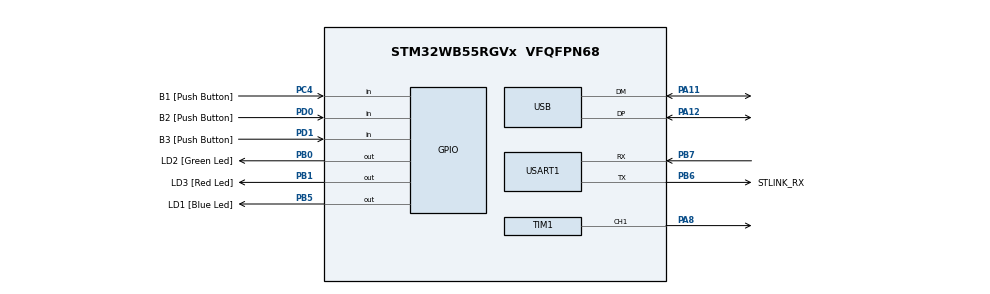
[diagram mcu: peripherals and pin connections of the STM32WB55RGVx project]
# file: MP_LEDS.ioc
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Dma.Request0=TIM1_CH1
Dma.TIM1_CH1.0.Direction=DMA_MEMORY_TO_PERIPH
Dma.TIM1_CH1.0.EventEnable=DISABLE
Dma.TIM1_CH1.0.Instance=DMA1_Channel1
Dma.TIM1_CH1.0.MemDataAlignment=DMA_MDATAALIGN_HALFWORD
Dma.TIM1_CH1.0.MemInc=DMA_MINC_ENABLE
Dma.TIM1_CH1.0.Mode=DMA_NORMAL
Dma.TIM1_CH1.0.PeriphDataAlignment=DMA_PDATAALIGN_HALFWORD
Dma.TIM1_CH1.0.PeriphInc=DMA_PINC_DISABLE
Dma.TIM1_CH1.0.Polarity=HAL_DMAMUX_REQ_GEN_RISING
Dma.TIM1_CH1.0.Priority=DMA_PRIORITY_LOW
Dma.TIM1_CH1.0.RequestNumber=1
Dma.TIM1_CH1.0.SignalID=NONE
Dma.TIM1_CH1.0.SyncEnable=DISABLE
Dma.TIM1_CH1.0.SyncPolarity=HAL_DMAMUX_SYNC_NO_EVENT
Dma.TIM1_CH1.0.SyncRequestNumber=1
Dma.TIM1_CH1.0.SyncSignalID=NONE
Mcu.Family=STM32WB
Mcu.Name=STM32WB55RGVx
Mcu.Package=VFQFPN68
NVIC.DMA1_Channel1_IRQn=true\:0\:0\:false\:false\:true\:false\:true\:true
NVIC.PriorityGroup=NVIC_PRIORITYGROUP_4
NVIC.RCC_IRQn=true\:0\:0\:false\:false\:true\:true\:false\:true
NVIC.TIM1_CC_IRQn=true\:0\:0\:false\:false\:true\:true\:true\:true
NVIC.TIM1_UP_TIM16_IRQn=true\:0\:0\:false\:false\:true\:true\:true\:true
OSC_IN.Mode=HSE-External-Oscillator
OSC_IN.Signal=RCC_OSC_IN
OSC_OUT.Mode=HSE-External-Oscillator
OSC_OUT.Signal=RCC_OSC_OUT
PA11.Mode=Device
PA11.Signal=USB_DM
PA12.Mode=Device
PA12.Signal=USB_DP
PA13.GPIO_Label=JTMS
PA13.Mode=Trace_Asynchronous_SW
PA13.Signal=SYS_JTMS-SWDIO
PA14.GPIO_Label=JTCK
PA14.Mode=Trace_Asynchronous_SW
PA14.Signal=SYS_JTCK-SWCLK
PA8.Signal=S_TIM1_CH1
PB0.GPIO_Label=LD2 [Green Led]
PB0.Signal=GPIO_Output
PB1.GPIO_Label=LD3 [Red Led]
PB1.Signal=GPIO_Output
PB3.GPIO_Label=JTDO
PB3.Mode=Trace_Asynchronous_SW
PB3.Signal=SYS_JTDO-SWO
PB5.GPIO_Label=LD1 [Blue Led]
PB5.Signal=GPIO_Output
PB6.GPIO_Label=STLINK_RX
PB6.GPIO_PuPd=GPIO_PULLUP
PB6.Mode=Asynchronous
PB6.Signal=USART1_TX
PB7.Mode=Asynchronous
PB7.Signal=USART1_RX
PC13.Mode=SYS_WakeUp1
PC13.Signal=SYS_WKUP2
PC14-OSC32_IN.Signal=RCC_OSC32_IN
PC15-OSC32_OUT.Signal=RCC_OSC32_OUT
PC4.GPIO_Label=B1 [Push Button]
PC4.Signal=GPIO_Input
PD0.GPIO_Label=B2 [Push Button]
PD0.Signal=GPIO_Input
PD1.GPIO_Label=B3 [Push Button]
PD1.Signal=GPIO_Input
ProjectManager.HeapSize=0x200
ProjectManager.StackSize=0x400
ProjectManager.TargetToolchain=STM32CubeIDE
SH.S_TIM1_CH1.0=TIM1_CH1,PWM Generation1 CH1
TIM1.Channel-PWM\ Generation1\ CH1=TIM_CHANNEL_1
TIM1.Period=80
USART1.VirtualMode-Asynchronous=VM_ASYNC
VP_MEMORYMAP_VS_MEMORYMAP.Mode=CurAppReg
VP_RTC_VS_RTC_Activate.Mode=RTC_Enabled
VP_TIM1_VS_ClockSourceINT.Mode=Internal
board=NUCLEO-WB55RG

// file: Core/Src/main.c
/* USER CODE BEGIN Header */
/**
  ******************************************************************************
  * @file           : main.c
  * @brief          : Main program body
  ******************************************************************************
  * @attention
  *
  * Copyright (c) 2024 STMicroelectronics.
  * All rights reserved.
  *
  * This software is licensed under terms that can be found in the LICENSE file
  * in the root directory of this software component.
  * If no LICENSE file comes with this software, it is provided AS-IS.
  *
  ******************************************************************************
  */
/* USER CODE END Header */
#include "main.h"

/* USER CODE BEGIN Includes */

#include"math.h"

/* USER CODE END Includes */

RTC_HandleTypeDef hrtc;

TIM_HandleTypeDef htim1;
DMA_HandleTypeDef hdma_tim1_ch1;

UART_HandleTypeDef huart1;

PCD_HandleTypeDef hpcd_USB_FS;

void SystemClock_Config(void);
void PeriphCommonClock_Config(void);
static void MX_GPIO_Init(void);
static void MX_DMA_Init(void);
static void MX_TIM1_Init(void);
static void MX_RTC_Init(void);
static void MX_USART1_UART_Init(void);
static void MX_USB_PCD_Init(void);

/* USER CODE BEGIN 0 */

#define LED_MAX 144  //a changer avec le nombre de ledss!!
#define USE_BRIGHTNESS 1

uint8_t LED_Data[LED_MAX][4];
uint8_t LED_Mod[LED_MAX][4]; //for brightness requirements

int datasentflag = 0;

void HAL_TIM_PWM_PulseFinishedCallback(TIM_HandleTypeDef *htim){

	HAL_TIM_PWM_Stop_DMA(&htim1, TIM_CHANNEL_1);
	datasentflag = 1;
}

void set_LED(int led_num, int Green, int Red, int Blue){
	LED_Data[led_num][0]=led_num;
	LED_Data[led_num][1]=Green;
	LED_Data[led_num][2]=Red;
	LED_Data[led_num][3]=Blue;
}

#define PI 3.14159265

void set_brightness(int brightness){  //we can set it from 0 to 45
#if(USE_BRIGHTNESS)
		if(brightness>45) brightness=45;
		for(int i=0;i<LED_MAX;i++){
			LED_Mod[i][0] = LED_Data[i][0];
			for(int j=1;j<4;j++){
				float angle = 90 - brightness;  //in degrees
				angle = angle*PI/180; //in radian
				LED_Mod[i][j] = (LED_Data[i][j]/tan(angle));

			}
		}
#endif
}

uint16_t pwmData[(24*LED_MAX)+50];

void wS2812_Send(void){
	uint32_t idx=0;
	uint32_t color;

	/*for(int i=0;i<50;i++){
		pmwData[idx] = 0;
		idx++;
	}*/

	for(int i = 0; i<LED_MAX; i++){
		color=((LED_Mod[i][1]<<16) | (LED_Mod[i][2]<<8) | LED_Mod[i][3]);
		for(int i=23;i>=0;i--){
			if(color&(1<<i)) pwmData[idx] = 60; //to send a 1, two third of the signal must be high (two third of the reload value)
			else pwmData[idx] = 30; //1 third of the reload value
			idx++;
		}
	}

	for(int i=0;i<50;i++){   //see in the dataset, reset value, to advertise that another sat of data is coming next
		pwmData[idx] = 0;
		idx++;
	}

	HAL_TIM_PWM_Start_DMA(&htim1, TIM_CHANNEL_1, (uint32_t *)pwmData, 24);
	while(datasentflag){};  //when is finished, it means that DMA stops
	datasentflag=0;
}

/*void send (int Green, int Red, int Blue){

	uint32_t data = (Green<<16) | (Red<<8) | Blue;

	for(int i=23;i>=0;i--){
		if(data&(1<<i)) pmwData[i] = 60; //to send a 1, two third of the signal must be high
		else pmwData[i] = 30;
	}

	HAL_TIM_PWM_Start_DMA(&htim1, TIM_CHANNEL_1, (uint32_t *)pwmData, 24);
}*/

/* USER CODE END 0 */

int main(void)
{

  /* MCU Configuration--------------------------------------------------------*/

  /* Reset of all peripherals, Initializes the Flash interface and the Systick. */
  HAL_Init();

  /* Configure the system clock */
  SystemClock_Config();

/* Configure the peripherals common clocks */
  PeriphCommonClock_Config();

  /* Initialize all configured peripherals */
  MX_GPIO_Init();
  MX_DMA_Init();
  MX_TIM1_Init();
  MX_RTC_Init();
  MX_USART1_UART_Init();
  MX_USB_PCD_Init();
  /* USER CODE BEGIN 2 */

  for(int i=0;i<144;i++){
	  set_LED(i, 255, 0, 0);
  }

  set_brightness(100);
  //set_brightness(0);  //leds don't turn on
  wS2812_Send();

  /* USER CODE END 2 */

  /* Infinite loop */
  while (1)
  {

    /* USER CODE BEGIN 3 */

	  for(int i =0;i<46;i++){
		  set_brightness(i);
		  wS2812_Send();
		  HAL_Delay(50);
	  }

	  for(int i=45;i>=0;i--){
	  		  set_brightness(i);
	  		  wS2812_Send();
	  		  HAL_Delay(50);
	  }
  }
  /* USER CODE END 3 */
}

void SystemClock_Config(void)
{
  RCC_OscInitTypeDef RCC_OscInitStruct = {0};
  RCC_ClkInitTypeDef RCC_ClkInitStruct = {0};

  /** Macro to configure the PLL multiplication factor
  */
  __HAL_RCC_PLL_PLLM_CONFIG(RCC_PLLM_DIV1);

  /** Macro to configure the PLL clock source
  */
  __HAL_RCC_PLL_PLLSOURCE_CONFIG(RCC_PLLSOURCE_MSI);

  /** Configure the main internal regulator output voltage
  */
  __HAL_PWR_VOLTAGESCALING_CONFIG(PWR_REGULATOR_VOLTAGE_SCALE1);

  /** Initializes the RCC Oscillators according to the specified parameters
  * in the RCC_OscInitTypeDef structure.
  */
  RCC_OscInitStruct.OscillatorType = RCC_OSCILLATORTYPE_HSI|RCC_OSCILLATORTYPE_LSI1
                              |RCC_OSCILLATORTYPE_HSE|RCC_OSCILLATORTYPE_LSE
                              |RCC_OSCILLATORTYPE_MSI;
  RCC_OscInitStruct.HSEState = RCC_HSE_ON;
  RCC_OscInitStruct.LSEState = RCC_LSE_OFF;
  RCC_OscInitStruct.HSIState = RCC_HSI_ON;
  RCC_OscInitStruct.MSIState = RCC_MSI_ON;
  RCC_OscInitStruct.HSICalibrationValue = RCC_HSICALIBRATION_DEFAULT;
  RCC_OscInitStruct.MSICalibrationValue = RCC_MSICALIBRATION_DEFAULT;
  RCC_OscInitStruct.MSIClockRange = RCC_MSIRANGE_6;
  RCC_OscInitStruct.LSIState = RCC_LSI_ON;
  RCC_OscInitStruct.PLL.PLLState = RCC_PLL_NONE;
  if (HAL_RCC_OscConfig(&RCC_OscInitStruct) != HAL_OK)
  {
    Error_Handler();
  }

  /** Configure the SYSCLKSource, HCLK, PCLK1 and PCLK2 clocks dividers
  */
  RCC_ClkInitStruct.ClockType = RCC_CLOCKTYPE_HCLK4|RCC_CLOCKTYPE_HCLK2
                              |RCC_CLOCKTYPE_HCLK|RCC_CLOCKTYPE_SYSCLK
                              |RCC_CLOCKTYPE_PCLK1|RCC_CLOCKTYPE_PCLK2;
  RCC_ClkInitStruct.SYSCLKSource = RCC_SYSCLKSOURCE_MSI;
  RCC_ClkInitStruct.AHBCLKDivider = RCC_SYSCLK_DIV1;
  RCC_ClkInitStruct.APB1CLKDivider = RCC_HCLK_DIV1;
  RCC_ClkInitStruct.APB2CLKDivider = RCC_HCLK_DIV1;
  RCC_ClkInitStruct.AHBCLK2Divider = RCC_SYSCLK_DIV1;
  RCC_ClkInitStruct.AHBCLK4Divider = RCC_SYSCLK_DIV1;

  if (HAL_RCC_ClockConfig(&RCC_ClkInitStruct, FLASH_LATENCY_0) != HAL_OK)
  {
    Error_Handler();
  }

  /** Enable MSI Auto calibration
  */
  HAL_RCCEx_EnableMSIPLLMode();
}

void PeriphCommonClock_Config(void)
{
  RCC_PeriphCLKInitTypeDef PeriphClkInitStruct = {0};

  /** Initializes the peripherals clock
  */
  PeriphClkInitStruct.PeriphClockSelection = RCC_PERIPHCLK_SMPS;
  PeriphClkInitStruct.SmpsClockSelection = RCC_SMPSCLKSOURCE_HSI;
  PeriphClkInitStruct.SmpsDivSelection = RCC_SMPSCLKDIV_RANGE1;

  if (HAL_RCCEx_PeriphCLKConfig(&PeriphClkInitStruct) != HAL_OK)
  {
    Error_Handler();
  }
}

static void MX_RTC_Init(void)
{

  /** Initialize RTC Only
  */
  hrtc.Instance = RTC;
  hrtc.Init.HourFormat = RTC_HOURFORMAT_24;
  hrtc.Init.AsynchPrediv = 127;
  hrtc.Init.SynchPrediv = 255;
  hrtc.Init.OutPut = RTC_OUTPUT_DISABLE;
  hrtc.Init.OutPutPolarity = RTC_OUTPUT_POLARITY_HIGH;
  hrtc.Init.OutPutType = RTC_OUTPUT_TYPE_OPENDRAIN;
  hrtc.Init.OutPutRemap = RTC_OUTPUT_REMAP_NONE;
  if (HAL_RTC_Init(&hrtc) != HAL_OK)
  {
    Error_Handler();
  }

}

static void MX_TIM1_Init(void)
{

  TIM_ClockConfigTypeDef sClockSourceConfig = {0};
  TIM_MasterConfigTypeDef sMasterConfig = {0};
  TIM_OC_InitTypeDef sConfigOC = {0};
  TIM_BreakDeadTimeConfigTypeDef sBreakDeadTimeConfig = {0};

  htim1.Instance = TIM1;
  htim1.Init.Prescaler = 0;
  htim1.Init.CounterMode = TIM_COUNTERMODE_UP;
  htim1.Init.Period = 80;
  htim1.Init.ClockDivision = TIM_CLOCKDIVISION_DIV1;
  htim1.Init.RepetitionCounter = 0;
  htim1.Init.AutoReloadPreload = TIM_AUTORELOAD_PRELOAD_DISABLE;
  if (HAL_TIM_Base_Init(&htim1) != HAL_OK)
  {
    Error_Handler();
  }
  sClockSourceConfig.ClockSource = TIM_CLOCKSOURCE_INTERNAL;
  if (HAL_TIM_ConfigClockSource(&htim1, &sClockSourceConfig) != HAL_OK)
  {
    Error_Handler();
  }
  if (HAL_TIM_PWM_Init(&htim1) != HAL_OK)
  {
    Error_Handler();
  }
  sMasterConfig.MasterOutputTrigger = TIM_TRGO_RESET;
  sMasterConfig.MasterOutputTrigger2 = TIM_TRGO2_RESET;
  sMasterConfig.MasterSlaveMode = TIM_MASTERSLAVEMODE_DISABLE;
  if (HAL_TIMEx_MasterConfigSynchronization(&htim1, &sMasterConfig) != HAL_OK)
  {
    Error_Handler();
  }
  sConfigOC.OCMode = TIM_OCMODE_PWM1;
  sConfigOC.Pulse = 0;
  sConfigOC.OCPolarity = TIM_OCPOLARITY_HIGH;
  sConfigOC.OCNPolarity = TIM_OCNPOLARITY_HIGH;
  sConfigOC.OCFastMode = TIM_OCFAST_DISABLE;
  sConfigOC.OCIdleState = TIM_OCIDLESTATE_RESET;
  sConfigOC.OCNIdleState = TIM_OCNIDLESTATE_RESET;
  if (HAL_TIM_PWM_ConfigChannel(&htim1, &sConfigOC, TIM_CHANNEL_1) != HAL_OK)
  {
    Error_Handler();
  }
  sBreakDeadTimeConfig.OffStateRunMode = TIM_OSSR_DISABLE;
  sBreakDeadTimeConfig.OffStateIDLEMode = TIM_OSSI_DISABLE;
  sBreakDeadTimeConfig.LockLevel = TIM_LOCKLEVEL_OFF;
  sBreakDeadTimeConfig.DeadTime = 0;
  sBreakDeadTimeConfig.BreakState = TIM_BREAK_DISABLE;
  sBreakDeadTimeConfig.BreakPolarity = TIM_BREAKPOLARITY_HIGH;
  sBreakDeadTimeConfig.BreakFilter = 0;
  sBreakDeadTimeConfig.BreakAFMode = TIM_BREAK_AFMODE_INPUT;
  sBreakDeadTimeConfig.Break2State = TIM_BREAK2_DISABLE;
  sBreakDeadTimeConfig.Break2Polarity = TIM_BREAK2POLARITY_HIGH;
  sBreakDeadTimeConfig.Break2Filter = 0;
  sBreakDeadTimeConfig.Break2AFMode = TIM_BREAK_AFMODE_INPUT;
  sBreakDeadTimeConfig.AutomaticOutput = TIM_AUTOMATICOUTPUT_DISABLE;
  if (HAL_TIMEx_ConfigBreakDeadTime(&htim1, &sBreakDeadTimeConfig) != HAL_OK)
  {
    Error_Handler();
  }
  HAL_TIM_MspPostInit(&htim1);

}

static void MX_USART1_UART_Init(void)
{

  huart1.Instance = USART1;
  huart1.Init.BaudRate = 115200;
  huart1.Init.WordLength = UART_WORDLENGTH_8B;
  huart1.Init.StopBits = UART_STOPBITS_1;
  huart1.Init.Parity = UART_PARITY_NONE;
  huart1.Init.Mode = UART_MODE_TX_RX;
  huart1.Init.HwFlowCtl = UART_HWCONTROL_NONE;
  huart1.Init.OverSampling = UART_OVERSAMPLING_16;
  huart1.Init.OneBitSampling = UART_ONE_BIT_SAMPLE_DISABLE;
  huart1.Init.ClockPrescaler = UART_PRESCALER_DIV1;
  huart1.AdvancedInit.AdvFeatureInit = UART_ADVFEATURE_NO_INIT;
  if (HAL_UART_Init(&huart1) != HAL_OK)
  {
    Error_Handler();
  }
  if (HAL_UARTEx_SetTxFifoThreshold(&huart1, UART_TXFIFO_THRESHOLD_1_8) != HAL_OK)
  {
    Error_Handler();
  }
  if (HAL_UARTEx_SetRxFifoThreshold(&huart1, UART_RXFIFO_THRESHOLD_1_8) != HAL_OK)
  {
    Error_Handler();
  }
  if (HAL_UARTEx_DisableFifoMode(&huart1) != HAL_OK)
  {
    Error_Handler();
  }

}

static void MX_USB_PCD_Init(void)
{

  hpcd_USB_FS.Instance = USB;
  hpcd_USB_FS.Init.dev_endpoints = 8;
  hpcd_USB_FS.Init.speed = PCD_SPEED_FULL;
  hpcd_USB_FS.Init.phy_itface = PCD_PHY_EMBEDDED;
  hpcd_USB_FS.Init.Sof_enable = DISABLE;
  hpcd_USB_FS.Init.low_power_enable = DISABLE;
  hpcd_USB_FS.Init.lpm_enable = DISABLE;
  hpcd_USB_FS.Init.battery_charging_enable = DISABLE;
  if (HAL_PCD_Init(&hpcd_USB_FS) != HAL_OK)
  {
    Error_Handler();
  }

}

static void MX_DMA_Init(void)
{

  /* DMA controller clock enable */
  __HAL_RCC_DMAMUX1_CLK_ENABLE();
  __HAL_RCC_DMA1_CLK_ENABLE();

  /* DMA interrupt init */
  /* DMA1_Channel1_IRQn interrupt configuration */
  HAL_NVIC_SetPriority(DMA1_Channel1_IRQn, 0, 0);
  HAL_NVIC_EnableIRQ(DMA1_Channel1_IRQn);

}

static void MX_GPIO_Init(void)
{
  GPIO_InitTypeDef GPIO_InitStruct = {0};

  /* GPIO Ports Clock Enable */
  __HAL_RCC_GPIOC_CLK_ENABLE();
  __HAL_RCC_GPIOA_CLK_ENABLE();
  __HAL_RCC_GPIOB_CLK_ENABLE();
  __HAL_RCC_GPIOD_CLK_ENABLE();

  /*Configure GPIO pin Output Level */
  HAL_GPIO_WritePin(GPIOB, LD2_Pin|LD3_Pin|LD1_Pin, GPIO_PIN_RESET);

  /*Configure GPIO pin : B1_Pin */
  GPIO_InitStruct.Pin = B1_Pin;
  GPIO_InitStruct.Mode = GPIO_MODE_INPUT;
  GPIO_InitStruct.Pull = GPIO_NOPULL;
  HAL_GPIO_Init(B1_GPIO_Port, &GPIO_InitStruct);

  /*Configure GPIO pins : LD2_Pin LD3_Pin LD1_Pin */
  GPIO_InitStruct.Pin = LD2_Pin|LD3_Pin|LD1_Pin;
  GPIO_InitStruct.Mode = GPIO_MODE_OUTPUT_PP;
  GPIO_InitStruct.Pull = GPIO_NOPULL;
  GPIO_InitStruct.Speed = GPIO_SPEED_FREQ_LOW;
  HAL_GPIO_Init(GPIOB, &GPIO_InitStruct);

  /*Configure GPIO pins : B2_Pin B3_Pin */
  GPIO_InitStruct.Pin = B2_Pin|B3_Pin;
  GPIO_InitStruct.Mode = GPIO_MODE_INPUT;
  GPIO_InitStruct.Pull = GPIO_NOPULL;
  HAL_GPIO_Init(GPIOD, &GPIO_InitStruct);

}

void Error_Handler(void)
{
  __disable_irq();
  while (1)
  {
  }
}
